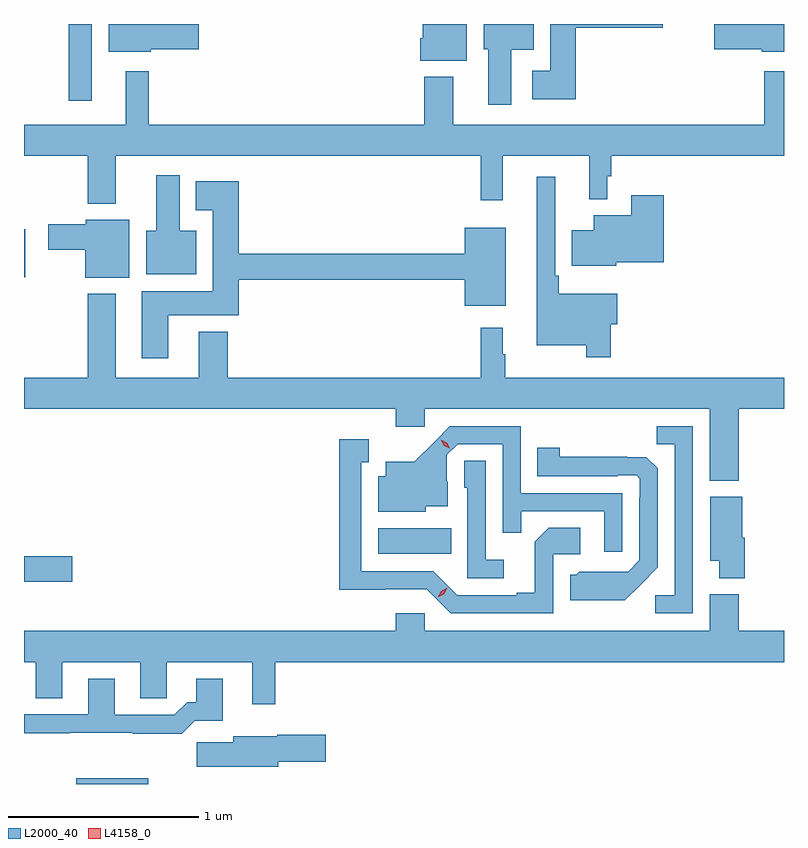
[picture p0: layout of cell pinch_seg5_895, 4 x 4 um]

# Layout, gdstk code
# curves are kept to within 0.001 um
import gdstk
lib = gdstk.Library(unit=1e-6, precision=1e-09)
def R(c, l, rs):  # rectangles x0, y0, x1, y1
    for r in rs: c.add(gdstk.rectangle(r[:2], r[2:], *l))
def P(c, l, *ps):  # polygons
    for p in ps: c.add(gdstk.Polygon(p, *l))
L2000_40 = (2000, 40)
L4158_0 = (4158, 0)

pinch_seg5_895 = lib.new_cell('pinch_seg5_895')
R(pinch_seg5_895, L2000_40, [(736.514,877.43,736.894,877.459), (736.24,878.495,736.495,878.63), (738.104,878.642,738.488,878.776), (736.24,880.097,736.246,880.351), (736.476,881.025,736.597,881.43)])
P(pinch_seg5_895, L2000_40, [(738.571,881.43),(738.338,881.43),(738.338,881.355),(738.326,881.355),(738.326,881.237),(738.571,881.237)],
  [(739.145,881.411),(739.603,881.411),(739.603,881.43),(739.01,881.43),(739.01,881.185),(738.915,881.185),(738.915,881.033),(739.145,881.033)],
  [(736.908,881.296),(737.161,881.296),(737.161,881.43),(736.685,881.43),(736.685,881.285),(736.908,881.285)],
  [(738.805,881.294),(738.922,881.294),(738.922,881.43),(738.659,881.43),(738.659,881.298),(738.683,881.298),(738.683,881.004),(738.805,881.004)],
  [(740.24,881.43),(739.872,881.43),(739.872,881.296),(740.124,881.296),(740.124,881.285),(740.24,881.285)],
  [(736.723,880.736),(738.643,880.736),(738.643,880.503),(738.761,880.503),(738.761,880.736),(739.214,880.736),(739.214,880.508),(739.311,880.508),(739.311,880.629),(739.331,880.629),(739.331,880.736),(740.24,880.736),(740.24,881.182),(740.136,881.182),(740.136,880.9),(738.499,880.9),(738.499,881.152),(738.347,881.152),(738.347,880.9),(736.897,880.9),(736.897,881.182),(736.775,881.182),(736.775,880.9),(736.24,880.9),(736.24,880.736),(736.576,880.736),(736.576,880.484),(736.723,880.484)],
  [(737.146,880.342),(737.059,880.342),(737.059,880.633),(736.937,880.633),(736.937,880.342),(736.883,880.342),(736.883,880.112),(737.146,880.112)],
  [(739.328,879.851),(739.363,879.851),(739.363,880.009),(739.055,880.009),(739.055,880.105),(739.035,880.105),(739.035,880.627),(738.938,880.627),(738.938,879.74),(739.2,879.74),(739.2,879.675),(739.328,879.675)],
  [(736.999,879.896),(737.369,879.896),(737.369,880.084),(738.56,880.084),(738.56,879.947),(738.775,879.947),(738.775,880.357),(738.56,880.357),(738.56,880.22),(737.369,880.22),(737.369,880.603),(737.144,880.603),(737.144,880.451),(737.234,880.451),(737.234,880.024),(736.859,880.024),(736.859,879.672),(736.999,879.672)],
  [(739.356,880.175),(739.607,880.175),(739.607,880.528),(739.436,880.528),(739.436,880.423),(739.238,880.423),(739.238,880.345),(739.124,880.345),(739.124,880.157),(739.356,880.157)],
  [(736.795,880.399),(736.566,880.399),(736.566,880.375),(736.368,880.375),(736.368,880.241),(736.562,880.241),(736.562,880.094),(736.795,880.094)],
  [(740.003,879.404),(740.24,879.404),(740.24,879.568),(738.772,879.568),(738.772,879.692),(738.76,879.692),(738.76,879.832),(738.643,879.832),(738.643,879.568),(737.312,879.568),(737.312,879.811),(737.159,879.811),(737.159,879.568),(736.723,879.568),(736.723,880.009),(736.576,880.009),(736.576,879.568),(736.24,879.568),(736.24,879.404),(738.197,879.404),(738.197,879.309),(738.348,879.309),(738.348,879.404),(739.85,879.404),(739.85,879.026),(740.003,879.026)],
  [(739.761,879.312),(739.57,879.312),(739.57,879.217),(739.665,879.217),(739.665,878.424),(739.563,878.424),(739.563,878.328),(739.761,878.328)],
  [(739.389,878.961),(738.855,878.961),(738.855,879.312),(738.482,879.312),(738.295,879.127),(738.143,879.127),(738.143,879.049),(738.104,879.049),(738.104,878.864),(738.354,878.864),(738.354,878.891),(738.469,878.891),(738.469,879.02),(738.465,879.02),(738.465,879.162),(738.522,879.219),(738.759,879.219),(738.759,878.752),(738.857,878.752),(738.857,878.865),(739.293,878.865),(739.293,878.652),(739.389,878.652)],
  [(739.026,878.64),(739.168,878.64),(739.168,878.78),(739.003,878.78),(738.927,878.704),(738.927,878.437),(738.833,878.437),(738.833,878.424),(738.519,878.424),(738.393,878.55),(738.016,878.55),(738.016,879.123),(738.055,879.123),(738.055,879.244),(737.898,879.244),(737.898,878.453),(738.36,878.454),(738.486,878.328),(739.026,878.328)],
  [(739.483,878.477),(739.575,878.57),(739.575,879.092),(739.516,879.151),(739.059,879.152),(739.059,879.199),(738.94,879.199),(738.94,879.051),(739.364,879.051),(739.364,879.054),(739.464,879.054),(739.482,879.036),(739.482,878.936),(739.479,878.936),(739.479,878.607),(739.419,878.547),(739.162,878.548),(739.146,878.532),(739.115,878.532),(739.115,878.396),(739.403,878.396)],
  [(738.766,878.611),(738.669,878.611),(738.669,879.131),(738.558,879.131),(738.558,878.988),(738.573,878.988),(738.573,878.514),(738.766,878.514)],
  [(740.033,878.727),(740.02,878.727),(740.02,878.941),(739.853,878.941),(739.853,878.606),(739.898,878.606),(739.898,878.513),(740.033,878.513)],
  [(737.563,878.072),(740.24,878.072),(740.24,878.236),(740.003,878.236),(740.003,878.428),(739.85,878.428),(739.85,878.236),(738.348,878.236),(738.348,878.329),(738.197,878.329),(738.197,878.236),(736.24,878.236),(736.24,878.072),(736.301,878.072),(736.301,877.882),(736.441,877.882),(736.441,878.072),(736.853,878.072),(736.853,877.882),(736.992,877.882),(736.992,878.072),(737.441,878.072),(737.441,877.851),(737.563,877.851)],
  [(737.138,877.763),(737.287,877.763),(737.287,877.984),(737.147,877.984),(737.147,877.861),(737.098,877.861),(737.031,877.794),(736.717,877.794),(736.717,877.984),(736.577,877.984),(736.577,877.797),(736.24,877.797),(736.24,877.696),(736.481,877.696),(736.481,877.699),(736.813,877.699),(736.813,877.694),(737.069,877.694)],
  [(737.578,877.547),(737.827,877.547),(737.827,877.689),(737.574,877.689),(737.574,877.681),(737.342,877.681),(737.342,877.649),(737.148,877.649),(737.148,877.52),(737.578,877.52)])
P(pinch_seg5_895, L4158_0, [(738.482,879.196),(738.451,879.211),(738.434,879.241),(738.434,879.241),(738.434,879.241),(738.465,879.226),(738.482,879.196),(738.482,879.196)],
  [(738.417,878.412),(738.417,878.412),(738.435,878.444),(738.467,878.463),(738.467,878.463),(738.467,878.462),(738.449,878.43),(738.417,878.412)])

lib.write_gds('pinch_seg5_895.gds')
